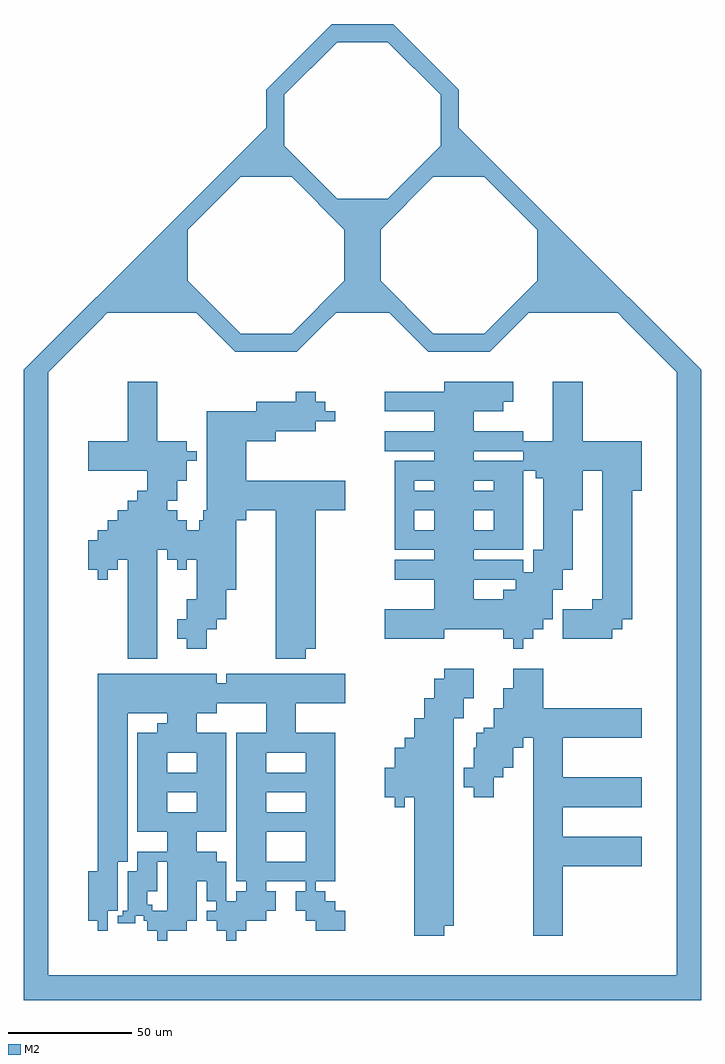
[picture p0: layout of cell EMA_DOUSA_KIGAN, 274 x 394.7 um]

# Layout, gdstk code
import gdstk
lib = gdstk.Library(unit=1e-6, precision=1e-09)
def R(c, l, rs):  # rectangles x0, y0, x1, y1
    for r in rs: c.add(gdstk.rectangle(r[:2], r[2:], *l))
def A(c, l, x, y, w, h, nx, ny, dx, dy):  # array of equal rectangles
    R(c, l, [(x+i*dx, y+j*dy, x+i*dx+w, y+j*dy+h) for i in range(nx) for j in range(ny)])
def P(c, l, *ps):  # polygons
    for p in ps: c.add(gdstk.Polygon(p, *l))
M2 = (20, 0)

ema_dousa_kigan = lib.new_cell('EMA_DOUSA_KIGAN')
A(ema_dousa_kigan, M2, 138, -24, 12, 4, 1, 7, 0, 4)
A(ema_dousa_kigan, M2, 90, -20, 16, 4, 1, 13, 0, 4)
A(ema_dousa_kigan, M2, -42, -6, 12, 4, 3, 1, 16, 0)
A(ema_dousa_kigan, M2, 138, 4, 44, 4, 1, 3, 0, 4)
A(ema_dousa_kigan, M2, -38, 10, 12, 4, 4, 2, 28, 4)
A(ema_dousa_kigan, M2, 138, 16, 12, 4, 1, 3, 0, 4)
A(ema_dousa_kigan, M2, -38, 18, 12, 4, 1, 12, 0, 4)
A(ema_dousa_kigan, M2, 138, 28, 44, 4, 1, 3, 0, 4)
A(ema_dousa_kigan, M2, 78, 32, 28, 4, 1, 3, 0, 4)
A(ema_dousa_kigan, M2, 138, 40, 12, 4, 1, 4, 0, 4)
A(ema_dousa_kigan, M2, 30, 58, 12, 4, 1, 3, 0, 4)
A(ema_dousa_kigan, M2, -26, 88, 12, 4, 1, 10, 0, 4)
A(ema_dousa_kigan, M2, 34, 92, 16, 4, 1, 14, 0, 4)
A(ema_dousa_kigan, M2, 166, 112, 12, 4, 1, 11, 0, 4)
A(ema_dousa_kigan, M2, 2, 116, 16, 4, 1, 3, 0, 4)
A(ema_dousa_kigan, M2, 98, 116, 16, 4, 1, 3, 0, 12)
A(ema_dousa_kigan, M2, 142, 132, 12, 4, 1, 4, 0, 4)
A(ema_dousa_kigan, M2, 98, 144, 16, 4, 1, 4, 0, 12)
A(ema_dousa_kigan, M2, 6, 148, 56, 4, 1, 3, 0, 4)
A(ema_dousa_kigan, M2, 142, 148, 16, 4, 1, 4, 0, 4)
A(ema_dousa_kigan, M2, 6, 160, 16, 4, 1, 4, 0, 4)
A(ema_dousa_kigan, M2, -26, 176, 12, 4, 1, 6, 0, 4)
A(ema_dousa_kigan, M2, 146, 176, 12, 4, 1, 6, 0, 4)
R(ema_dousa_kigan, M2, [(-68,-50,-58,180), (-58,-50,196,-40), (196,-50,206,180), (-14,-26,-10,-22), (14,-26,18,-22), (90,-24,102,-20), (-38,-22,-34,-18), (-18,-22,-2,-18), (10,-22,22,-18), (50,-22,62,-18), (-30,-19,-23,-16), (-42,-18,-34,-14), (-19.5,-18,-18,-16), (-18,-18,2,-14), (6,-18,30,-14), (46,-18,62,-14), (-28,-16,-18,-14), (-42,-14,-30,-10), (-26,-14,-18,-9.9), (-18,-14,-16,-11.5), (-10,-14,2,-10), (9.9,-14,14,-10), (14,-14,34,-10), (42,-14,58,-10), (-42,-10,-30,-6), (-10,-10,2,-6), (6,-10,14,-6), (18,-10,34,-6), (42,-10,54,-6), (-26,-9.9,-18,-6), (6,-6,14,-2), (22,-6,30,-2), (46,-6,50,-2), (-42,-2,-30,2), (-26,-2,-14,2), (-10,-2,14,2), (18,-2,58,2), (-38,2,-30,6), (-22,2,-14,6), (-10,2,14,6), (18,2,58,6), (-38,6,-26,10), (-22,6,10,10), (18,6,30,10), (46,6,58,10), (-22,18,14,22), (18,18,58,22), (-22,22,14,26), (18,22,58,26), (-22,26,-10,30), (2,26,14,30), (18,26,30,30), (46,26,58,30), (82,28,86,32), (-22,30,-10,34), (2,30,14,34), (18,30,30,34), (46,30,58,34), (114,32,122,36), (-22,34,14,38), (18,34,58,38), (110,36,122,40), (-22,38,14,42), (18,38,58,42), (110,40,126,44), (-22,42,-10,46), (2,42,14,46), (18,42,30,46), (46,42,58,46), (82,44,106,48), (114,44,130,48), (-22,46,-10,50), (2,46,14,50), (18,46,30,50), (46,46,58,50), (82,48,106,52), (114,48,130,52), (-22,50,14,54), (18,50,58,54), (86,52,106,56), (115,52,118,58.1), (118,52,134,56), (-22,54,14,58), (18,54,58,58), (90,56,106,60), (118,56,182,60), (-14,58,2,62), (90,60,106,64), (122,60,182,64), (-10,62,2,66), (94,64,110,68), (122,64,182,68), (-38,66,10,70), (94,68,110,72), (126,68,142,72), (-38,70,62,74), (98,72,114,76), (126,72,142,76), (-38,74,62,78), (98,76,114,80), (130,76,142,80), (-38,78,10,82), (14,78,62,82), (102,80,114,84), (130,80,142,84), (34,88,46,92), (-2,92,6,96), (130,92,134,96), (-6,96,6,100), (78,96,102,100), (126,96,138,100), (150,96,170,100), (-6,100,10,104), (78,100,142,104), (150,100,174,104), (-2,104,14,108), (78,104,146,108), (150,104,178,108), (-2,108,14,112), (98,108,146,112), (162,108,178,112), (2,112,14,116), (98,112,114,116), (126,112,146,116), (131,116,138,123), (134,116,150,120), (-38,120,-34,124), (82,120,134,124), (138,120,150,124), (-42,124,-30,128), (-6,124,-2,128), (82,124,134,128), (138,124,154,128), (-42,128,-14,132), (-10,128,2,132), (2,128,6,132), (6,128,18,132), (138,128,154,132), (-42,132,18,136), (82,132,134,136), (-38,136,2,140), (2,136,6,140), (6,136,18,140), (82,136,134,140), (-34,140,-2,144), (3,140,6,144), (6,140,18,144), (82,140,90,144), (122,140,134,144), (-30,144,-6,148), (4.5,144,6,148), (6,144,22,148), (82,144,90,148), (122,144,134,148), (-26,148,-10,152), (82,148,134,152), (-22,152,-6,156), (82,152,134,156), (-18,156,-6,160), (82,156,90,160), (122,156,134,160), (166,156,182,160), (-18,160,-2,164), (82,160,134,164), (166,160,182,164), (139,161,145,167), (-42,164,-2,168), (82,164,182,168), (-42,168,2,172), (134,168,182,172), (-42,172,-2,176), (78,172,182,176), (6,176,34,180), (78,176,134,180), (-68,180,-58,204), (6,180,50,184), (196,180,206,204), (6,184,58,188), (98,184,114,188), (26,188,54,192), (78,188,126,192), (42,192,50,196), (78,192,130,196), (102,196,130,200)])
P(ema_dousa_kigan, M2, [(136.2,227.9),(147,238.7),(161.3,238.7),(172.1,227.9)],
  [(-68,194),(-68,204.8),(-9,263.8),(-3.6,258.4)],
  [(58.2,227.9),(69,238.7),(79.8,227.9)],
  [(95.5,212.2),(69,238.7),(69,263.7),(95.5,290.2),(108.5,290.2),(108.5,282.9),(97.7,282.9),(76.3,261.5),(76.3,240.9),(97.7,219.5),(118.3,219.5),(139.7,240.9),(139.7,261.5),(118.3,282.9),(108.5,282.9),(108.5,290.2),(120.5,290.2),(147,263.7),(147,238.7),(120.5,212.2)],
  [(206,194),(141.6,258.4),(147,263.8),(206,204.8)],
  [(-23.3,238.7),(-9,253),(-9,238.7)],
  [(17.5,212.2),(-9,238.7),(-9,263.7),(17.5,290.2),(30.5,290.2),(30.5,282.9),(19.7,282.9),(-1.7,261.5),(-1.7,240.9),(19.7,219.5),(40.3,219.5),(61.7,240.9),(61.7,261.5),(40.3,282.9),(30.5,282.9),(30.5,290.2),(42.5,290.2),(69,263.7),(69,238.7),(42.5,212.2)],
  [(147,238.7),(147,253),(161.3,238.7)],
  [(-34.1,227.9),(-23.3,238.7),(-9,238.7),(1.8,227.9)],
  [(17.5,290.2),(20.5,293.2),(30,293.2),(33,290.2)],
  [(105,290.2),(108,293.2),(117.5,293.2),(120.5,290.2)],
  [(69,263.7),(66,266.7),(72,266.7)],
  [(56.5,266.7),(30,293.2),(30,318.2),(56.5,344.7),(69.5,344.7),(69.5,337.4),(58.7,337.4),(37.3,316),(37.3,295.4),(58.7,274),(79.3,274),(100.7,295.4),(100.7,316),(79.3,337.4),(69.5,337.4),(69.5,344.7),(81.5,344.7),(108,318.2),(108,293.2),(81.5,266.7)],
  [(20.5,293.2),(30,302.7),(30,293.2)],
  [(108,293.2),(108,302.7),(117.5,293.2)])

lib.write_gds('EMA_DOUSA_KIGAN.gds')
